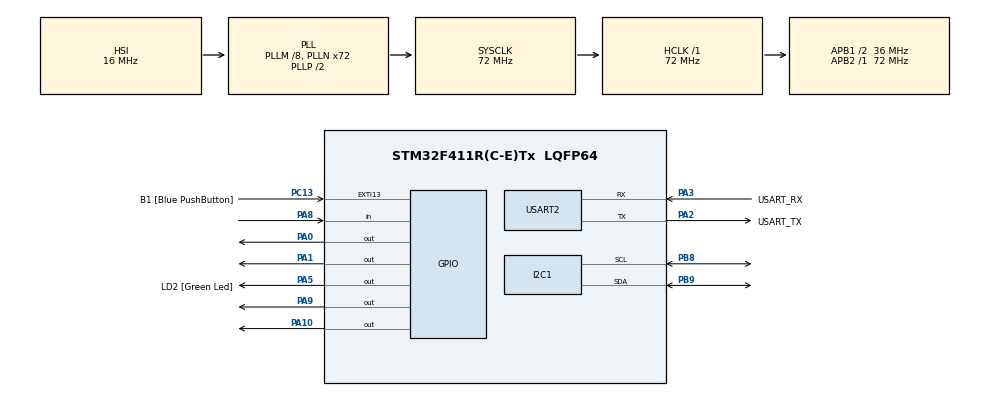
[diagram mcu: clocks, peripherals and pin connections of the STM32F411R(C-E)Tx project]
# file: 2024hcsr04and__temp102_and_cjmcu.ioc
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Mcu.Family=STM32F4
Mcu.Name=STM32F411R(C-E)Tx
Mcu.Package=LQFP64
NVIC.PriorityGroup=NVIC_PRIORITYGROUP_0
PA0-WKUP.Signal=GPIO_Output
PA1.Signal=GPIO_Output
PA10.Signal=GPIO_Output
PA13.GPIO_Label=TMS
PA13.Mode=Serial_Wire
PA13.Signal=SYS_JTMS-SWDIO
PA14.GPIO_Label=TCK
PA14.Mode=Serial_Wire
PA14.Signal=SYS_JTCK-SWCLK
PA2.GPIO_Label=USART_TX
PA2.Mode=Asynchronous
PA2.Signal=USART2_TX
PA3.GPIO_Label=USART_RX
PA3.Mode=Asynchronous
PA3.Signal=USART2_RX
PA5.GPIO_Label=LD2 [Green Led]
PA5.Signal=GPIO_Output
PA8.Signal=GPIO_Input
PA9.Signal=GPIO_Output
PB3.GPIO_Label=SWO
PB3.Signal=SYS_JTDO-SWO
PB8.Mode=I2C
PB8.Signal=I2C1_SCL
PB9.Mode=I2C
PB9.Signal=I2C1_SDA
PC13-ANTI_TAMP.GPIO_Label=B1 [Blue PushButton]
PC13-ANTI_TAMP.GPIO_ModeDefaultEXTI=GPIO_MODE_IT_FALLING
PC13-ANTI_TAMP.Signal=GPXTI13
PC14-OSC32_IN.Mode=LSE-External-Oscillator
PC14-OSC32_IN.Signal=RCC_OSC32_IN
PC15-OSC32_OUT.Mode=LSE-External-Oscillator
PC15-OSC32_OUT.Signal=RCC_OSC32_OUT
PH0\ -\ OSC_IN.Mode=HSE-External-Clock-Source
PH0\ -\ OSC_IN.Signal=RCC_OSC_IN
PH1\ -\ OSC_OUT.Mode=HSE-External-Clock-Source
PH1\ -\ OSC_OUT.Signal=RCC_OSC_OUT
ProjectManager.HeapSize=0x200
ProjectManager.StackSize=0x400
ProjectManager.TargetToolchain=STM32CubeIDE
RCC.48MHZClocksFreq_Value=36000000
RCC.AHBFreq_Value=72000000
RCC.APB1CLKDivider=RCC_HCLK_DIV2
RCC.APB1Freq_Value=36000000
RCC.APB1TimFreq_Value=72000000
RCC.APB2Freq_Value=72000000
RCC.APB2TimFreq_Value=72000000
RCC.CortexFreq_Value=72000000
RCC.FLatency-AdvancedSettings=FLASH_LATENCY_2
RCC.HCLKFreq_Value=72000000
RCC.HSE_VALUE=8000000
RCC.HSI_VALUE=16000000
RCC.PLLM=8
RCC.PLLN=72
RCC.SYSCLKFreq_VALUE=72000000
RCC.SYSCLKSource=RCC_SYSCLKSOURCE_PLLCLK
RCC.VCOOutputFreq_Value=144000000
TIM1.Prescaler=71
USART2.VirtualMode=VM_ASYNC
VP_TIM1_VS_ClockSourceINT.Mode=Internal
board=NUCLEO-F411RE

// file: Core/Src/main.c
/* USER CODE BEGIN Header */
/**
  ******************************************************************************
  * @file           : main.c
  * @brief          : Main program body
  ******************************************************************************
  * @attention
  *
  * Copyright (c) 2024 STMicroelectronics.
  * All rights reserved.
  *
  * This software is licensed under terms that can be found in the LICENSE file
  * in the root directory of this software component.
  * If no LICENSE file comes with this software, it is provided AS-IS.
  *
  ******************************************************************************
  */
/* USER CODE END Header */
#include "main.h"

/* USER CODE BEGIN Includes */
#include <string.h>		//for string_copy
#include <stdio.h>		//for sprintf
/* USER CODE END Includes */

I2C_HandleTypeDef hi2c1;

TIM_HandleTypeDef htim1;

UART_HandleTypeDef huart2;

/* USER CODE BEGIN PV */
static const uint8_t TMP102_ADDR = 0x48 << 1; //default address OF TMP
static const uint8_t TEMPERATURE_REG = 0x00;	//TEMPERATURE_REGISTER of TMP

static const uint8_t CJMCU_ADDR = 0x18 << 1; //default address of CJMCU
static const uint8_t AMBIENT_TEMPERATURE_REGISTER = 0x05; //0000 0101
// variables for HCSR01 sensor
#define TRIG_PIN GPIO_PIN_9
#define TRIG_PORT GPIOA
#define ECHO_PIN GPIO_PIN_8
#define ECHO_PORT GPIOA
uint32_t pMillis, a;
uint32_t Value1 = 0;
uint32_t Value2 = 0;
uint16_t Distance  = 0;  // cm
char buffer[40];

uint16_t read_value_0_CJMCU;
uint16_t read_value_1_CJMCU;
uint16_t read_value_FIXED_0CJMCU;
float read_value_FIXED_1CJMCU;
uint8_t five_bits_of_readed_first_byte_CJMCU;

uint8_t buffer_get_TEMP[2];
uint16_t read_value_0_TMP102;
uint16_t read_value_FIXED_0_TMP102;
uint16_t read_value_BUF_0_INV_TMP102;
uint16_t read_value_BUF_1_INV_TMP102;
uint16_t read_value_inv_TMP102;
uint16_t value_pos_neg_TMP;
/* USER CODE END PV */

void SystemClock_Config(void);
static void MX_GPIO_Init(void);
static void MX_USART2_UART_Init(void);
static void MX_I2C1_Init(void);
static void MX_TIM1_Init(void);

int main(void)
{

  /* USER CODE BEGIN 1 */
	HAL_StatusTypeDef ret;	//return status

		float temp_in_c_all_CJMCU, temp_in_c_negative_CJMCU, temp_in_c_all_TMP;
		unsigned short temp_c1_CJMCU, temp_c_TMP;
		unsigned char sign_CJMCU, sign_TMP;

  /* USER CODE END 1 */

  /* MCU Configuration--------------------------------------------------------*/

  /* Reset of all peripherals, Initializes the Flash interface and the Systick. */
  HAL_Init();

  /* Configure the system clock */
  SystemClock_Config();

  /* Initialize all configured peripherals */
  MX_GPIO_Init();
  MX_USART2_UART_Init();
  MX_I2C1_Init();
  MX_TIM1_Init();
  /* USER CODE BEGIN 2 */

//------------------HCSR01-------------------------

  HAL_TIM_Base_Start(&htim1);
      HAL_GPIO_WritePin(TRIG_PORT, TRIG_PIN, GPIO_PIN_RESET);  // pull the TRIG pin low
  /* USER CODE END 2 */

  /* Infinite loop */
  /* USER CODE BEGIN WHILE */
  while (1)
  { HAL_GPIO_WritePin(TRIG_PORT, TRIG_PIN, GPIO_PIN_SET);  // pull the TRIG pin HIGH
  __HAL_TIM_SET_COUNTER(&htim1, 0);
  while (__HAL_TIM_GET_COUNTER (&htim1) < 10);  // wait for 10 us
  HAL_GPIO_WritePin(TRIG_PORT, TRIG_PIN, GPIO_PIN_RESET);  // pull the TRIG pin low

  pMillis = HAL_GetTick(); // used this to avoid infinite while loop  (for timeout)
  // wait for the echo pin to go high
  while (!(HAL_GPIO_ReadPin (ECHO_PORT, ECHO_PIN)) && pMillis + 10 >  HAL_GetTick());
  Value1 = __HAL_TIM_GET_COUNTER (&htim1);

  pMillis = HAL_GetTick(); // used this to avoid infinite while loop (for timeout)
  // wait for the echo pin to go low
  while ((HAL_GPIO_ReadPin (ECHO_PORT, ECHO_PIN)) && pMillis + 50 > HAL_GetTick());
  Value2 = __HAL_TIM_GET_COUNTER (&htim1);

  Distance = (Value2-Value1)* 0.034/2;
  HAL_Delay(100);

	 sprintf(buffer, "Distance %d \r\n", Distance);
			 HAL_UART_Transmit(&huart2, buffer, sizeof(buffer), HAL_MAX_DELAY);

			 if(Distance > 40)
			 {
				 HAL_GPIO_WritePin(GPIOA, GPIO_PIN_10, GPIO_PIN_RESET);
				 HAL_GPIO_WritePin(GPIOA, GPIO_PIN_1, GPIO_PIN_RESET);
				 HAL_GPIO_WritePin(GPIOA, GPIO_PIN_0, GPIO_PIN_SET);
			 }
			  if(Distance < 30){
				 HAL_GPIO_WritePin(GPIOA, GPIO_PIN_10, GPIO_PIN_RESET);
				 HAL_GPIO_WritePin(GPIOA, GPIO_PIN_0, GPIO_PIN_RESET);
				 HAL_GPIO_WritePin(GPIOA, GPIO_PIN_1, GPIO_PIN_SET);
			 }
			 if(Distance < 15){
				 HAL_GPIO_WritePin(GPIOA, GPIO_PIN_0, GPIO_PIN_RESET);
				 HAL_GPIO_WritePin(GPIOA, GPIO_PIN_1, GPIO_PIN_RESET);
			     HAL_GPIO_WritePin(GPIOA, GPIO_PIN_10, GPIO_PIN_SET);}

//-----------------TIME---------------------------

			 sprintf(buffer, "elapsed time %d s\r\n",pMillis/1000);
			  HAL_UART_Transmit(&huart2, buffer, sizeof(buffer), HAL_MAX_DELAY);
//--------------------------

			 // Tell CJMCU that we want to read from the temperature register
			 	buffer_get_TEMP[0] = AMBIENT_TEMPERATURE_REGISTER;
			 	ret = HAL_I2C_Master_Transmit(&hi2c1, CJMCU_ADDR, buffer_get_TEMP, 1,HAL_MAX_DELAY);
			 			if (ret != HAL_OK) {
			 				strcpy((char*) buffer, "Error Tx\r\n");
			 					} else {

			 						// Read 2 bytes from the temperature register
			 						ret = HAL_I2C_Master_Receive(&hi2c1, CJMCU_ADDR, buffer_get_TEMP, 2,
			 						HAL_MAX_DELAY);
			 						if (ret != HAL_OK) {
			 							strcpy((char*) buffer, "Error Rx\r\n");
			 						} else {

			 							//Read the bytes
			 							read_value_0_CJMCU = ((int16_t) buffer_get_TEMP[0] & ~(1 << 4) & ~(1 << 5)& ~(1 << 6) & ~(1 << 7));//because value is in first 4 bits and second byte
			 							read_value_1_CJMCU = (int16_t) (buffer_get_TEMP[1]);

			 							;
			 							//create new variable because if we dont do it, program will do some errors and I can explain it
			 							read_value_FIXED_0CJMCU = read_value_0_CJMCU;
			 							read_value_FIXED_1CJMCU = read_value_1_CJMCU;

			 							//to read temperature is positive or negative
			 							five_bits_of_readed_first_byte_CJMCU = (buffer_get_TEMP[0] & ~(1 << 6)	& ~(1 << 7) & ~(1 << 8));

			 							// If temperature will be negative it will be  over 0x0F by datasheet
			 							if (five_bits_of_readed_first_byte_CJMCU > 15) {
			 								sign_CJMCU = '-';

			 								//Convert the temperature data by datasheet (p.25)
			 								temp_in_c_negative_CJMCU = (read_value_FIXED_0CJMCU * 16)+ (read_value_FIXED_1CJMCU / 16);

			 								temp_in_c_all_CJMCU = 256 - temp_in_c_negative_CJMCU;
			 							} else {
			 								sign_CJMCU = '+';
			 								//Convert the temperature data by datasheet (p.25)
			 								temp_in_c_all_CJMCU = (read_value_FIXED_0CJMCU * 16)	+ (read_value_FIXED_1CJMCU / 16);

			 							}}}
			 							// Convert temperature to decimal format
			 							temp_c1_CJMCU = temp_in_c_all_CJMCU * 100;

			 							sprintf(buffer, "CJMCU  %c%d.%d  C\r\n", (sign_CJMCU),
			 									(temp_c1_CJMCU / 100), (temp_c1_CJMCU % 100));
			 							HAL_UART_Transmit(&huart2,(uint8_t*) buffer, sizeof(buffer),
			 									HAL_MAX_DELAY);

	/* ------------------TMP*/

			 										 							// Tell TMP102 that we want to read from the temperature register
			 										 									buffer_get_TEMP[0] = TEMPERATURE_REG;
			 										 									ret = HAL_I2C_Master_Transmit(&hi2c1, TMP102_ADDR, buffer_get_TEMP, 1,
			 										 											HAL_MAX_DELAY);
			 										 									if (ret != HAL_OK) {
			 										 										strcpy((char*) buffer, "Error Tx\r\n");
			 										 									} else {

			 										 										// Read 2 bytes from the temperature register
			 										 										ret = HAL_I2C_Master_Receive(&hi2c1, TMP102_ADDR, buffer_get_TEMP, 2,
			 										 												HAL_MAX_DELAY);
			 										 										if (ret != HAL_OK) {
			 										 											strcpy((char*) buffer, "Error Rx\r\n");
			 										 										} else {

			 										 											//Combine the bytes
			 										 											read_value_0_TMP102 = ((int16_t) buffer_get_TEMP[0] << 4)	| (int16_t) (buffer_get_TEMP[1] >> 4);

			 										 											//create new varible because if we dont do it, program will do some errors and I can explain it
			 										 											read_value_FIXED_0_TMP102 = read_value_0_TMP102;

			 										 											//if temperrature is negative, we must invert reading bytes,
			 										 											//so we invert bytes and then do combine
			 										 											read_value_BUF_0_INV_TMP102 =(int16_t) 0xFF ^ (buffer_get_TEMP[0]);
			 										 											read_value_BUF_1_INV_TMP102=(int16_t)0xFF^(buffer_get_TEMP[1] );

			 										 											//combine inverted bytes
			 										 											read_value_inv_TMP102 = (read_value_BUF_0_INV_TMP102 << 4 | read_value_BUF_1_INV_TMP102 >> 4);

			 										 											// If temperature will be negative it will be  over 0x7FF or 2047 by datasheet
			 										 											if (read_value_0_TMP102 > 2047) {
			 										 												sign_TMP = '-';
			 										 												value_pos_neg_TMP = read_value_inv_TMP102 + 1;
			 										 											}else {
			 										 												sign_TMP = '+';
			 										 												value_pos_neg_TMP = read_value_FIXED_0_TMP102;
			 										 											}
			 										 											// Convert to float temperature value (Celsius)
			 										 											temp_in_c_all_TMP = value_pos_neg_TMP * 0.0625;

			 										 											// Convert temperature to decimal format
			 										 											temp_c_TMP = temp_in_c_all_TMP * 100;
			 										 											sprintf(buffer, "TMP102 %c%d.%d  C\r\n", (sign_TMP), (temp_c_TMP / 100),(temp_c_TMP % 100));
			 										 											HAL_UART_Transmit(&huart2, buffer, sizeof(buffer),
			 										 													HAL_MAX_DELAY);

			 										 										}
			 										 									}
				sprintf(buffer, "                               \r\n ");  //just for clear buffer
				sprintf(buffer, "                               \r\n ");  //just for clear buffer
				HAL_UART_Transmit(&huart2,(uint8_t*) buffer, sizeof(buffer),HAL_MAX_DELAY);
    /* USER CODE END WHILE */

  }
}

void SystemClock_Config(void)
{
  RCC_OscInitTypeDef RCC_OscInitStruct = {0};
  RCC_ClkInitTypeDef RCC_ClkInitStruct = {0};

  /** Configure the main internal regulator output voltage
  */
  __HAL_RCC_PWR_CLK_ENABLE();
  __HAL_PWR_VOLTAGESCALING_CONFIG(PWR_REGULATOR_VOLTAGE_SCALE1);

  /** Initializes the RCC Oscillators according to the specified parameters
  * in the RCC_OscInitTypeDef structure.
  */
  RCC_OscInitStruct.OscillatorType = RCC_OSCILLATORTYPE_HSI;
  RCC_OscInitStruct.HSIState = RCC_HSI_ON;
  RCC_OscInitStruct.HSICalibrationValue = RCC_HSICALIBRATION_DEFAULT;
  RCC_OscInitStruct.PLL.PLLState = RCC_PLL_ON;
  RCC_OscInitStruct.PLL.PLLSource = RCC_PLLSOURCE_HSI;
  RCC_OscInitStruct.PLL.PLLM = 8;
  RCC_OscInitStruct.PLL.PLLN = 72;
  RCC_OscInitStruct.PLL.PLLP = RCC_PLLP_DIV2;
  RCC_OscInitStruct.PLL.PLLQ = 4;
  if (HAL_RCC_OscConfig(&RCC_OscInitStruct) != HAL_OK)
  {
    Error_Handler();
  }

  /** Initializes the CPU, AHB and APB buses clocks
  */
  RCC_ClkInitStruct.ClockType = RCC_CLOCKTYPE_HCLK|RCC_CLOCKTYPE_SYSCLK
                              |RCC_CLOCKTYPE_PCLK1|RCC_CLOCKTYPE_PCLK2;
  RCC_ClkInitStruct.SYSCLKSource = RCC_SYSCLKSOURCE_PLLCLK;
  RCC_ClkInitStruct.AHBCLKDivider = RCC_SYSCLK_DIV1;
  RCC_ClkInitStruct.APB1CLKDivider = RCC_HCLK_DIV2;
  RCC_ClkInitStruct.APB2CLKDivider = RCC_HCLK_DIV1;

  if (HAL_RCC_ClockConfig(&RCC_ClkInitStruct, FLASH_LATENCY_2) != HAL_OK)
  {
    Error_Handler();
  }
}

static void MX_I2C1_Init(void)
{

  hi2c1.Instance = I2C1;
  hi2c1.Init.ClockSpeed = 100000;
  hi2c1.Init.DutyCycle = I2C_DUTYCYCLE_2;
  hi2c1.Init.OwnAddress1 = 0;
  hi2c1.Init.AddressingMode = I2C_ADDRESSINGMODE_7BIT;
  hi2c1.Init.DualAddressMode = I2C_DUALADDRESS_DISABLE;
  hi2c1.Init.OwnAddress2 = 0;
  hi2c1.Init.GeneralCallMode = I2C_GENERALCALL_DISABLE;
  hi2c1.Init.NoStretchMode = I2C_NOSTRETCH_DISABLE;
  if (HAL_I2C_Init(&hi2c1) != HAL_OK)
  {
    Error_Handler();
  }

}

static void MX_TIM1_Init(void)
{

  TIM_ClockConfigTypeDef sClockSourceConfig = {0};
  TIM_MasterConfigTypeDef sMasterConfig = {0};

  htim1.Instance = TIM1;
  htim1.Init.Prescaler = 71;
  htim1.Init.CounterMode = TIM_COUNTERMODE_UP;
  htim1.Init.Period = 65535;
  htim1.Init.ClockDivision = TIM_CLOCKDIVISION_DIV1;
  htim1.Init.RepetitionCounter = 0;
  htim1.Init.AutoReloadPreload = TIM_AUTORELOAD_PRELOAD_DISABLE;
  if (HAL_TIM_Base_Init(&htim1) != HAL_OK)
  {
    Error_Handler();
  }
  sClockSourceConfig.ClockSource = TIM_CLOCKSOURCE_INTERNAL;
  if (HAL_TIM_ConfigClockSource(&htim1, &sClockSourceConfig) != HAL_OK)
  {
    Error_Handler();
  }
  sMasterConfig.MasterOutputTrigger = TIM_TRGO_RESET;
  sMasterConfig.MasterSlaveMode = TIM_MASTERSLAVEMODE_DISABLE;
  if (HAL_TIMEx_MasterConfigSynchronization(&htim1, &sMasterConfig) != HAL_OK)
  {
    Error_Handler();
  }

}

static void MX_USART2_UART_Init(void)
{

  huart2.Instance = USART2;
  huart2.Init.BaudRate = 115200;
  huart2.Init.WordLength = UART_WORDLENGTH_8B;
  huart2.Init.StopBits = UART_STOPBITS_1;
  huart2.Init.Parity = UART_PARITY_NONE;
  huart2.Init.Mode = UART_MODE_TX_RX;
  huart2.Init.HwFlowCtl = UART_HWCONTROL_NONE;
  huart2.Init.OverSampling = UART_OVERSAMPLING_16;
  if (HAL_UART_Init(&huart2) != HAL_OK)
  {
    Error_Handler();
  }

}

static void MX_GPIO_Init(void)
{
  GPIO_InitTypeDef GPIO_InitStruct = {0};

  /* GPIO Ports Clock Enable */
  __HAL_RCC_GPIOC_CLK_ENABLE();
  __HAL_RCC_GPIOH_CLK_ENABLE();
  __HAL_RCC_GPIOA_CLK_ENABLE();
  __HAL_RCC_GPIOB_CLK_ENABLE();

  /*Configure GPIO pin Output Level */
  HAL_GPIO_WritePin(GPIOA, GPIO_PIN_0|GPIO_PIN_1|LD2_Pin|GPIO_PIN_9
                          |GPIO_PIN_10, GPIO_PIN_RESET);

  /*Configure GPIO pin : B1_Pin */
  GPIO_InitStruct.Pin = B1_Pin;
  GPIO_InitStruct.Mode = GPIO_MODE_IT_FALLING;
  GPIO_InitStruct.Pull = GPIO_NOPULL;
  HAL_GPIO_Init(B1_GPIO_Port, &GPIO_InitStruct);

  /*Configure GPIO pins : PA0 PA1 LD2_Pin PA9
                           PA10 */
  GPIO_InitStruct.Pin = GPIO_PIN_0|GPIO_PIN_1|LD2_Pin|GPIO_PIN_9
                          |GPIO_PIN_10;
  GPIO_InitStruct.Mode = GPIO_MODE_OUTPUT_PP;
  GPIO_InitStruct.Pull = GPIO_NOPULL;
  GPIO_InitStruct.Speed = GPIO_SPEED_FREQ_LOW;
  HAL_GPIO_Init(GPIOA, &GPIO_InitStruct);

  /*Configure GPIO pin : PA8 */
  GPIO_InitStruct.Pin = GPIO_PIN_8;
  GPIO_InitStruct.Mode = GPIO_MODE_INPUT;
  GPIO_InitStruct.Pull = GPIO_NOPULL;
  HAL_GPIO_Init(GPIOA, &GPIO_InitStruct);

}

void Error_Handler(void)
{
  __disable_irq();
  while (1)
  {
  }
}
